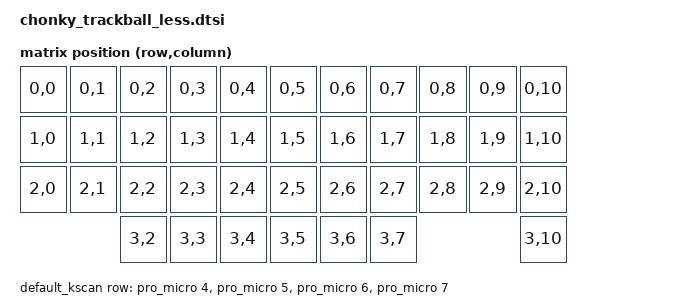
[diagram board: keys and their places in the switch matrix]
/*
 * Copyright (c) 2020 Pete Johanson
 *
 * SPDX-License-Identifier: MIT
 */

#include <dt-bindings/zmk/matrix_transform.h>
#include <zephyr/dt-bindings/input/input-event-codes.h>
#include <layouts/foostan/corne/5column.dtsi>

&foostan_corne_5col_layout {
    transform = <&default_transform>;
};

/ {
    chosen {
        zmk,kscan = &default_kscan;
        zmk,physical-layout = &foostan_corne_5col_layout;
    };

    default_transform: keymap_transform_0 {
        compatible = "zmk,matrix-transform";
        columns = <11>;
        rows = <4>;
// | SW1  | SW2  | SW3  | SW4  | SW5  |   | SW5  | SW4  | SW3  | SW2  | SW1  |     | SW1 |
// | SW6  | SW7  | SW8  | SW9  | SW10 |   | SW10 | SW9  | SW8  | SW7  | SW6  |     | SW2 |
// | SW11 | SW12 | SW13 | SW14 | SW15 |   | SW15 | SW14 | SW13 | SW12 | SW11 |     | SW3 |
//               | SW16 | SW17 | SW18 |   | SW18 | SW17 | SW16 |                   | SW4 |
        map = <
RC(0,0) RC(0,1) RC(0,2) RC(0,3) RC(0,4)   RC(0,5) RC(0,6) RC(0,7) RC(0,8) RC(0,9)  RC(0,10)
RC(1,0) RC(1,1) RC(1,2) RC(1,3) RC(1,4)   RC(1,5) RC(1,6) RC(1,7) RC(1,8) RC(1,9)  RC(1,10)
RC(2,0) RC(2,1) RC(2,2) RC(2,3) RC(2,4)   RC(2,5) RC(2,6) RC(2,7) RC(2,8) RC(2,9)  RC(2,10)
                RC(3,2) RC(3,3) RC(3,4)   RC(3,5) RC(3,6) RC(3,7)                  RC(3,10)
        >;
    };

    default_kscan: kscan {
        compatible = "zmk,kscan-gpio-matrix";
        wakeup-source;

        diode-direction = "row2col";
        row-gpios
            = <&pro_micro 4 GPIO_ACTIVE_HIGH>
            , <&pro_micro 5 GPIO_ACTIVE_HIGH>
            , <&pro_micro 6 GPIO_ACTIVE_HIGH>
            , <&pro_micro 7 GPIO_ACTIVE_HIGH>
            ;

    };

    split_inputs {
        #address-cells = <1>;
        #size-cells = <0>;

        pd0_split: pd0_split@0 {
            compatible = "zmk,input-split";
            reg = <0>;
        };
    };

    pd0_listener: pd0_listener {
        compatible = "zmk,input-listener";
        status = "disabled";
        device = <&pd0_split>;
    };

};


